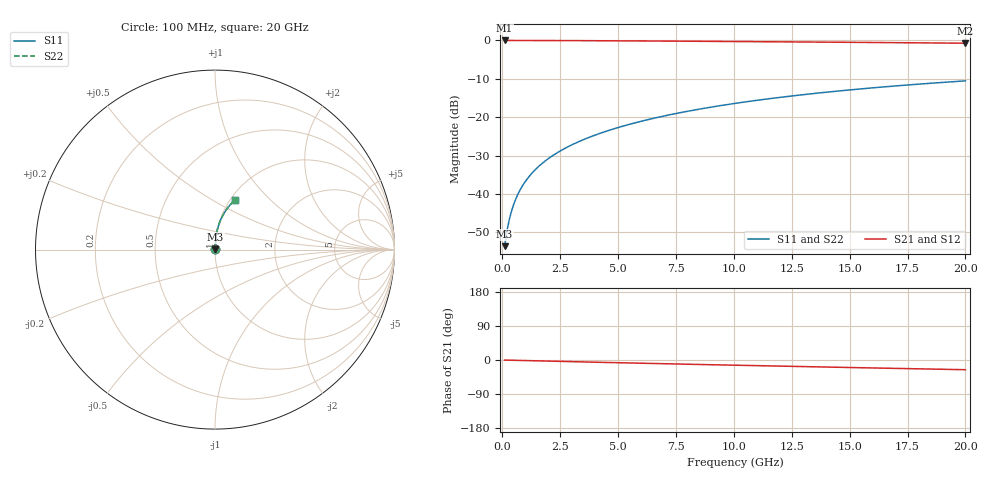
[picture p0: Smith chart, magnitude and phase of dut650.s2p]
! Touchstone file exported from HFSS 2024.1.0
!  File:  C:/UserFiles/LocalFiles/RDL_TSV_Batchsim/temp_RDL_bottom_650_1779785298.aedt
!  Generated:  04:51:22 PM May 26, 2026
!  Design:  RDL_bottom
!  Project:  temp_RDL_bottom_650_1779785298
!  Setup:  Setup1
!  Solution:  Sweep
! Variables:
!  dtsv = 10.80580581um
!  hbump = 3um
!  htsv = 54.76um
!  ldown = 311.27um
!  lrdl = 100um
!  p = 40
!  p1 = 55.72um
!  rhole = 1um
!  t = 450um
!  tdown = 4.66um
!  trdl = 3.915915916um
!  wdown = 18.04um
!  wrdl = 20um
# GHz S MA R 50.000000
! Terminal data exported
! Port[1] = RDL1_T1
! Port[2] = RDL1_T2
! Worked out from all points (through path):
!   200 points, 100 MHz to 20 GHz, reference 50 ohm
!   highest |S21| = -0.01 dB at 100 MHz (marker M1); lowest = -0.7 dB at 20 GHz (marker M2)
!   group delay of S21, straight-line fit = 3.53 ps
!   lowest |S11| = -53.6 dB at 100 MHz (marker M3), VSWR 1.00, Z = 50.1 + j0.152 ohm
!   |S11| at or under -10 dB: start of sweep to end of sweep
!   |S22| runs from -53.6 to -10.5 dB; largest |S21 - S12| = 6.5e-15
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0.1  0.002098 46.3  0.9985 -0.2  0.9985 -0.2  0.002098 46.3
! Gamma 0 0 0 0
! Port Impedance 50 0 50 0
0.2  0.003284 63.8  0.9985 -0.3  0.9985 -0.3  0.003284 63.8
0.3  0.004631 71.6  0.9984 -0.5  0.9984 -0.5  0.004631 71.6
0.4  0.00603 75.8  0.9983 -0.6  0.9983 -0.6  0.006031 75.8
0.5  0.007452 78.4  0.9982 -0.8  0.9982 -0.8  0.007452 78.4
0.6  0.008884 80.1  0.9982 -0.9  0.9982 -0.9  0.008885 80.1
0.8  0.01176 82.2  0.998 -1.2  0.998 -1.2  0.01176 82.2
1.1  0.01609 83.9  0.9977 -1.6  0.9977 -1.6  0.01609 83.9
1.5  0.02187 84.9  0.9972 -2.2  0.9972 -2.2  0.02187 84.9
1.8  0.02621 85.4  0.9967 -2.7  0.9967 -2.7  0.02621 85.4
2.1  0.03055 85.6  0.9961 -3.1  0.9961 -3.1  0.03055 85.6
2.7  0.03927 85.9  0.9948 -4.0  0.9948 -4.0  0.03927 85.9
3.5  0.05102 85.9  0.9927 -5.1  0.9927 -5.1  0.05102 85.9
4.2  0.06141 85.7  0.9905 -6.1  0.9905 -6.1  0.06141 85.7
5  0.07344 85.3  0.9878 -7.2  0.9878 -7.2  0.07344 85.3
5.9  0.08713 84.7  0.9844 -8.4  0.9844 -8.4  0.08713 84.7
6.8  0.101 83.9  0.9809 -9.6  0.9809 -9.6  0.101 83.9
8.4  0.1258 82.3  0.9744 -11.7  0.9744 -11.7  0.1258 82.4
10.1  0.1522 80.4  0.9671 -13.8  0.9671 -13.8  0.1522 80.5
13.4  0.2028 76.4  0.9523 -17.9  0.9523 -17.9  0.2028 76.4
16.7  0.2515 72.3  0.9365 -21.8  0.9365 -21.8  0.2515 72.3
20  0.2975 68.3  0.9197 -25.6  0.9197 -25.6  0.2975 68.3
